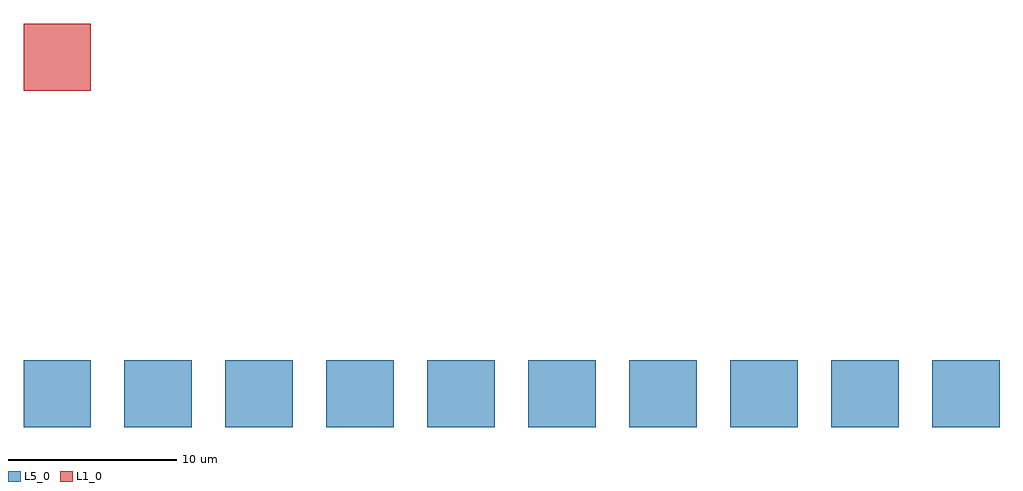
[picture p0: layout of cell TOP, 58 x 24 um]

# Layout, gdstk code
import gdstk
lib = gdstk.Library(unit=1e-6, precision=1e-09)
def R(c, l, rs):  # rectangles x0, y0, x1, y1
    for r in rs: c.add(gdstk.rectangle(r[:2], r[2:], *l))
def A(c, l, x, y, w, h, nx, ny, dx, dy):  # array of equal rectangles
    R(c, l, [(x+i*dx, y+j*dy, x+i*dx+w, y+j*dy+h) for i in range(nx) for j in range(ny)])
L1_0 = (1, 0)
L5_0 = (5, 0)

top = lib.new_cell('TOP')
R(top, L1_0, [(0,20,4,24)])
A(top, L5_0, 0, 0, 4, 4, 10, 1, 6, 0)

lib.write_gds('TOP.gds')
